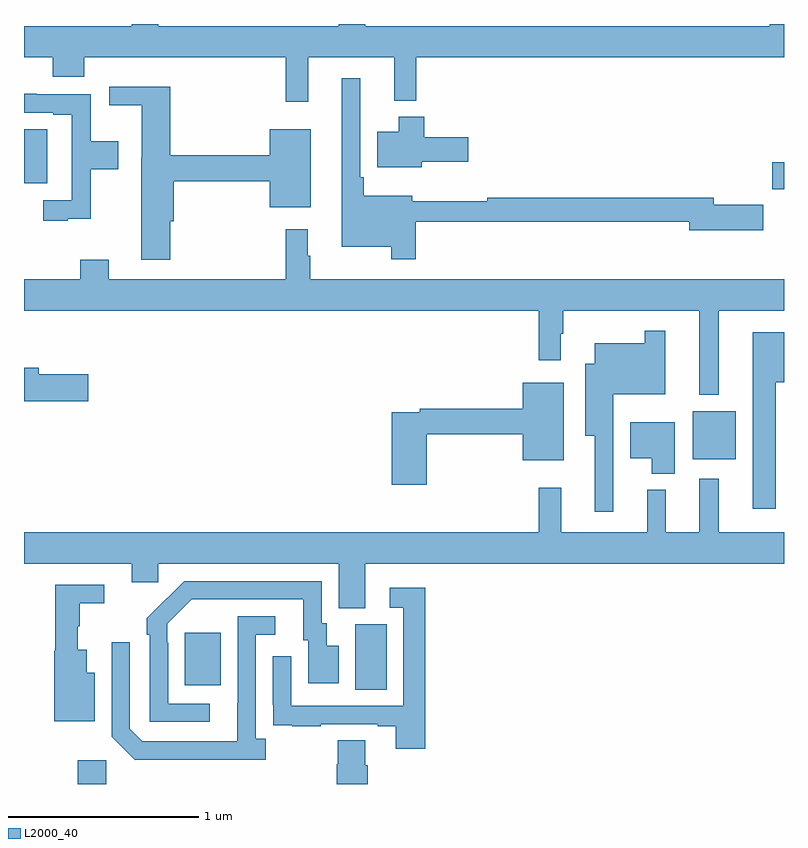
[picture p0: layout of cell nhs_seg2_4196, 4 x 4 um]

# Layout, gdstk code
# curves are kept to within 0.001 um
import gdstk
lib = gdstk.Library(unit=1e-6, precision=1e-09)
def R(c, l, rs):  # rectangles x0, y0, x1, y1
    for r in rs: c.add(gdstk.rectangle(r[:2], r[2:], *l))
def P(c, l, *ps):  # polygons
    for p in ps: c.add(gdstk.Polygon(p, *l))
L2000_40 = (2000, 40)

nhs_seg2_4196 = lib.new_cell('nhs_seg2_4196')
R(nhs_seg2_4196, L2000_40, [(337.283,655.8,337.434,655.924), (338.744,656.296,338.908,656.64), (337.847,656.321,338.035,656.596), (340.52,657.509,340.747,657.763), (340.938,658.93,341,659.072), (337,658.961,337.123,659.245)])
P(nhs_seg2_4196, L2000_40, [(338.495,659.624),(338.948,659.624),(338.948,659.396),(339.065,659.396),(339.065,659.624),(341,659.624),(341,659.8),(340.924,659.8),(340.924,659.788),(338.797,659.788),(338.797,659.8),(338.657,659.8),(338.657,659.788),(337.707,659.788),(337.707,659.8),(337.568,659.8),(337.568,659.788),(337,659.788),(337,659.624),(337.151,659.624),(337.151,659.522),(337.316,659.522),(337.316,659.624),(338.377,659.624),(338.377,659.391),(338.495,659.391)],
  [(339.062,658.758),(340.502,658.758),(340.502,658.715),(340.891,658.715),(340.891,658.85),(340.63,658.85),(340.63,658.886),(339.439,658.886),(339.439,658.868),(339.043,658.868),(339.043,658.897),(338.789,658.897),(338.789,658.993),(338.769,658.993),(338.769,659.515),(338.672,659.515),(338.672,658.628),(338.934,658.628),(338.934,658.563),(339.062,658.563)],
  [(337.769,658.761),(337.787,658.761),(337.787,658.972),(338.294,658.972),(338.294,658.835),(338.509,658.835),(338.509,659.245),(338.294,659.245),(338.294,659.108),(337.769,659.108),(337.769,659.47),(337.449,659.47),(337.449,659.372),(337.619,659.372),(337.619,659.097),(337.616,659.097),(337.616,658.56),(337.769,658.56)],
  [(337.229,658.775),(337.352,658.775),(337.352,659.035),(337.495,659.035),(337.495,659.182),(337.352,659.182),(337.352,659.43),(337.067,659.43),(337.067,659.432),(337,659.432),(337,659.334),(337.154,659.334),(337.154,659.322),(337.251,659.322),(337.251,658.872),(337.101,658.872),(337.101,658.764),(337.229,658.764)],
  [(339.094,659.075),(339.337,659.075),(339.337,659.205),(339.107,659.205),(339.107,659.311),(338.972,659.311),(338.972,659.233),(338.858,659.233),(338.858,659.045),(339.094,659.045)],
  [(340.657,658.292),(341,658.292),(341,658.456),(338.506,658.456),(338.506,658.58),(338.494,658.58),(338.494,658.72),(338.377,658.72),(338.377,658.456),(337.447,658.456),(337.447,658.558),(337.295,658.558),(337.295,658.456),(337,658.456),(337,658.292),(339.709,658.292),(339.709,658.029),(339.825,658.029),(339.825,658.169),(339.838,658.169),(339.838,658.292),(340.553,658.292),(340.553,657.848),(340.657,657.848)],
  [(340.101,657.851),(340.374,657.851),(340.374,658.186),(340.266,658.186),(340.266,658.12),(340.004,658.12),(340.004,658.012),(339.953,658.012),(339.953,657.632),(340.004,657.632),(340.004,657.234),(340.101,657.234)],
  [(340.957,657.914),(341,657.914),(341,658.177),(340.835,658.177),(340.835,657.249),(340.957,657.249)],
  [(337.339,657.957),(337.078,657.957),(337.078,657.991),(337,657.991),(337,657.815),(337.339,657.815)],
  [(339.119,657.64),(339.626,657.64),(339.626,657.503),(339.841,657.503),(339.841,657.913),(339.626,657.913),(339.626,657.776),(339.082,657.776),(339.082,657.756),(338.936,657.756),(338.936,657.375),(339.119,657.375)],
  [(340.426,657.703),(340.19,657.703),(340.19,657.515),(340.304,657.515),(340.304,657.434),(340.426,657.434)],
  [(338.797,656.96),(341,656.96),(341,657.124),(340.657,657.124),(340.657,657.406),(340.553,657.406),(340.553,657.124),(340.378,657.124),(340.378,657.349),(340.28,657.349),(340.28,657.124),(339.827,657.124),(339.827,657.358),(339.709,657.358),(339.709,657.124),(337,657.124),(337,656.96),(337.568,656.96),(337.568,656.862),(337.707,656.862),(337.707,656.96),(338.657,656.96),(338.657,656.725),(338.797,656.725)],
  [(337.978,656.223),(337.758,656.223),(337.758,656.543),(337.755,656.543),(337.755,656.643),(337.884,656.772),(338.471,656.772),(338.471,656.556),(338.495,656.556),(338.495,656.331),(338.656,656.331),(338.656,656.527),(338.593,656.527),(338.593,656.646),(338.568,656.646),(338.568,656.868),(337.844,656.868),(337.647,656.673),(337.647,656.585),(337.662,656.585),(337.662,656.127),(337.978,656.127)],
  [(337.372,656.386),(337.33,656.386),(337.33,656.506),(337.283,656.506),(337.283,656.63),(337.294,656.63),(337.294,656.752),(337.423,656.752),(337.423,656.85),(337.165,656.85),(337.165,656.502),(337.16,656.502),(337.16,656.129),(337.372,656.129)],
  [(339.113,656.833),(338.925,656.833),(338.925,656.727),(338.997,656.727),(338.997,656.211),(338.406,656.211),(338.406,656.473),(338.31,656.473),(338.31,656.218),(338.311,656.218),(338.311,656.109),(338.413,656.109),(338.413,656.103),(338.561,656.103),(338.561,656.115),(338.861,656.115),(338.861,656.103),(338.957,656.103),(338.957,655.986),(339.113,655.986)],
  [(338.272,656.038),(338.22,656.038),(338.22,656.586),(338.323,656.586),(338.323,656.682),(338.124,656.682),(338.123,656.025),(337.623,656.025),(337.557,656.091),(337.557,656.545),(337.461,656.545),(337.461,656.049),(337.582,655.928),(338.272,655.928)],
  [(338.81,655.898),(338.797,655.898),(338.797,656.03),(338.65,656.03),(338.65,655.905),(338.645,655.905),(338.645,655.8),(338.81,655.8)])

lib.write_gds('nhs_seg2_4196.gds')
